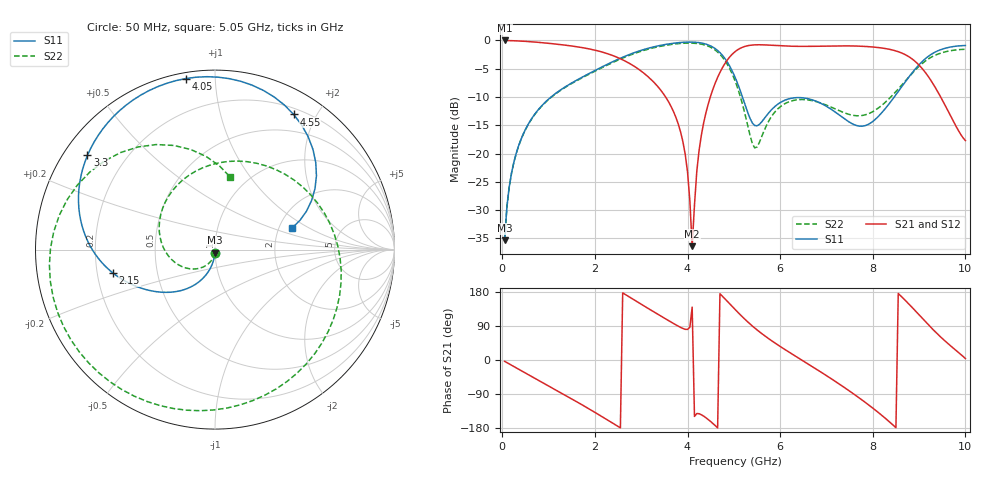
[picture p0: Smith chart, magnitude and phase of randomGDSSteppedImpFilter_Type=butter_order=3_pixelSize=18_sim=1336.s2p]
! freq	dB(S11)	phase(S11)	dB(S12)	phase(S12)
!  dB(S21)	phase(S21)	dB(S22)	phase(S22)
!S-par simulation data
#  GHz  S  DB  R 50
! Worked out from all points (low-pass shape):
!   200 points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, 50 MHz to 10 GHz, reference 50 ohm
!   highest |S21| = -0.01 dB at 50 MHz (marker M1); lowest = -36.4 dB at 4.1 GHz (marker M2)
!   |S21| within 3 dB of the highest: start of sweep to 2.486 GHz; 4.902 GHz to 8.803 GHz (3.9 GHz wide, 56.9 % of centre)
!   lowest |S11| = -35.3 dB at 50 MHz (marker M3), VSWR 1.03, Z = 49.9 - j1.71 ohm
!   |S11| at or under -10 dB: start of sweep to 1.053 GHz; 5.186 GHz to 8.464 GHz (3.278 GHz wide, 48 % of centre)
!   |S22| runs from -35.4 to -0.5 dB; largest |S21 - S12| = 0
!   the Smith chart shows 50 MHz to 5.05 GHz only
!   S11 on the Smith chart (normalised r, x): 50 MHz: 1.00, -0.03; 2.15 GHz: 0.27, -0.11; 3.3 GHz: 0.07, +0.33; 4.05 GHz: 0.03, +0.84; 4.55 GHz: 0.27, +1.71; 5.05 GHz: 2.36, +0.72
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0.05  -35.33 -91.8  -0.01 -3.5  -0.01 -3.5  -35.38 -94.5
0.2  -23.42 -98.7  -0.04 -13.9  -0.04 -13.9  -23.45 -109.3
0.5  -15.73 -111.5  -0.17 -34.4  -0.17 -34.4  -15.79 -138.2
1.75  -6.39 -154.4  -1.30 -120.2  -1.30 -120.2  -6.50 92.6
2.15  -4.70 -167.0  -2.04 -149.2  -2.04 -149.2  -4.83 46.9
2.75  -2.47 169.8  -4.08 165.8  -4.08 165.8  -2.62 -20.1
3.3  -1.08 143.5  -7.63 125.0  -7.63 125.0  -1.24 -76.0
3.4  -0.90 138.3  -8.57 117.7  -8.57 117.7  -1.06 -85.7
3.85  -0.36 112.7  -16.18 86.1  -16.18 86.1  -0.53 -128.4
4.05  -0.29 99.7  -28.31 86.4  -28.31 86.4  -0.47 -148.1
4.1  -0.30 96.2  -36.37 139.5  -36.37 139.5  -0.48 -153.2
4.25  -0.39 85.2  -19.40 -141.8  -19.40 -141.8  -0.59 -169.1
4.55  -1.20 59.8  -8.58 -167.8  -8.58 -167.8  -1.44 154.9
5.05  -6.97 15.8  -1.84 130.4  -1.84 130.4  -7.68 78.2
5.6  -14.41 50.7  -0.77 69.9  -0.77 69.9  -17.04 -97.9
6.7  -10.52 3.1  -1.04 -17.9  -1.04 -17.9  -10.66 142.3
7.6  -14.89 -93.1  -0.98 -90.7  -0.98 -90.7  -13.27 92.0
8.35  -11.23 168.9  -1.55 -162.1  -1.55 -162.1  -10.32 34.0
8.85  -5.72 124.8  -3.28 138.7  -3.28 138.7  -5.81 -41.0
9.25  -2.53 86.4  -7.00 86.7  -7.00 86.7  -3.03 -107.5
9.65  -1.21 51.0  -12.86 40.6  -12.86 40.6  -1.86 -164.9
10  -0.90 25.0  -17.70 3.9  -17.70 3.9  -1.56 153.7
